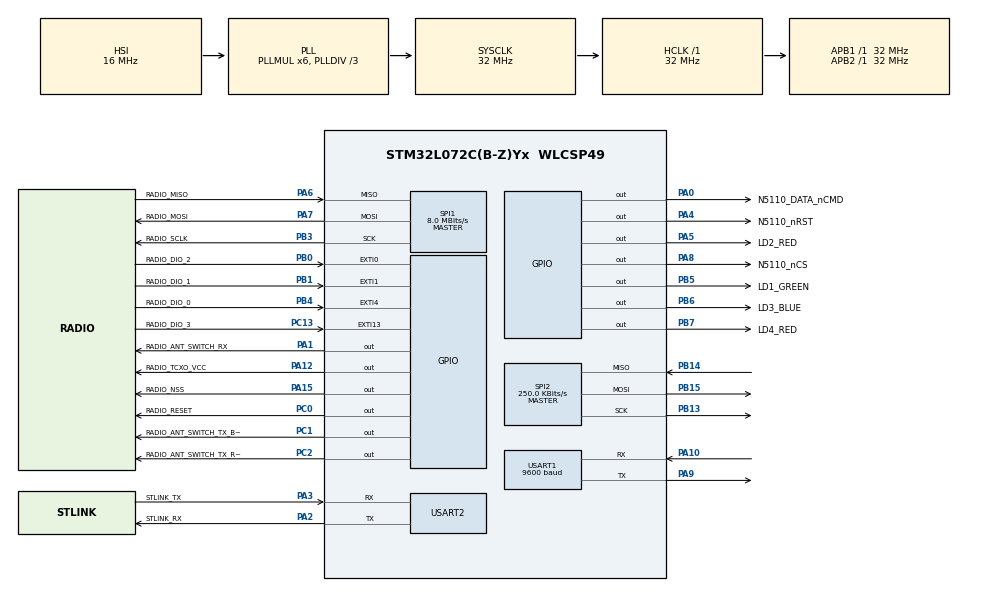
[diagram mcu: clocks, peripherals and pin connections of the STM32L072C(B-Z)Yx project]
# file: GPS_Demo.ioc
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Dma.Request0=USART1_RX
Dma.Request1=USART1_TX
Dma.Request2=SPI2_TX
Dma.SPI2_TX.2.Direction=DMA_MEMORY_TO_PERIPH
Dma.SPI2_TX.2.Instance=DMA1_Channel5
Dma.SPI2_TX.2.MemDataAlignment=DMA_MDATAALIGN_BYTE
Dma.SPI2_TX.2.MemInc=DMA_MINC_ENABLE
Dma.SPI2_TX.2.Mode=DMA_NORMAL
Dma.SPI2_TX.2.PeriphDataAlignment=DMA_PDATAALIGN_BYTE
Dma.SPI2_TX.2.PeriphInc=DMA_PINC_DISABLE
Dma.SPI2_TX.2.Priority=DMA_PRIORITY_LOW
Dma.USART1_RX.0.Direction=DMA_PERIPH_TO_MEMORY
Dma.USART1_RX.0.Instance=DMA1_Channel3
Dma.USART1_RX.0.MemDataAlignment=DMA_MDATAALIGN_BYTE
Dma.USART1_RX.0.MemInc=DMA_MINC_ENABLE
Dma.USART1_RX.0.Mode=DMA_CIRCULAR
Dma.USART1_RX.0.PeriphDataAlignment=DMA_PDATAALIGN_BYTE
Dma.USART1_RX.0.PeriphInc=DMA_PINC_DISABLE
Dma.USART1_RX.0.Priority=DMA_PRIORITY_LOW
Dma.USART1_TX.1.Direction=DMA_MEMORY_TO_PERIPH
Dma.USART1_TX.1.Instance=DMA1_Channel2
Dma.USART1_TX.1.MemDataAlignment=DMA_MDATAALIGN_BYTE
Dma.USART1_TX.1.MemInc=DMA_MINC_ENABLE
Dma.USART1_TX.1.Mode=DMA_NORMAL
Dma.USART1_TX.1.PeriphDataAlignment=DMA_PDATAALIGN_BYTE
Dma.USART1_TX.1.PeriphInc=DMA_PINC_DISABLE
Dma.USART1_TX.1.Priority=DMA_PRIORITY_LOW
Mcu.Family=STM32L0
Mcu.Name=STM32L072C(B-Z)Yx
Mcu.Package=WLCSP49
NVIC.DMA1_Channel2_3_IRQn=true\:0\:0\:false\:false\:true\:false
NVIC.DMA1_Channel4_5_6_7_IRQn=true\:0\:0\:false\:false\:true\:false
NVIC.EXTI0_1_IRQn=true\:0\:0\:false\:false\:true\:true
NVIC.EXTI4_15_IRQn=true\:0\:0\:false\:false\:true\:true
NVIC.RTC_IRQn=true\:0\:0\:false\:false\:true\:true
NVIC.SPI1_IRQn=true\:0\:0\:false\:false\:true\:true
NVIC.SPI2_IRQn=true\:0\:0\:false\:false\:true\:true
NVIC.USART1_IRQn=true\:0\:0\:false\:false\:true\:true
NVIC.USART2_IRQn=true\:0\:0\:false\:false\:true\:true
PA0.GPIO_Label=N5110_DATA_nCMD
PA0.Signal=GPIO_Output
PA1.GPIO_Label=RADIO_ANT_SWITCH_RX
PA1.GPIO_Speed=GPIO_SPEED_FREQ_HIGH
PA1.PinState=GPIO_PIN_RESET
PA1.Signal=GPIO_Output
PA10.Mode=Asynchronous
PA10.Signal=USART1_RX
PA12.GPIO_Label=RADIO_TCXO_VCC
PA12.GPIO_Speed=GPIO_SPEED_FREQ_HIGH
PA12.Signal=GPIO_Output
PA15.GPIO_Label=RADIO_NSS
PA15.GPIO_Speed=GPIO_SPEED_FREQ_HIGH
PA15.PinState=GPIO_PIN_SET
PA15.Signal=GPIO_Output
PA2.GPIO_Label=STLINK_RX
PA2.Mode=Asynchronous
PA2.Signal=USART2_TX
PA3.GPIO_Label=STLINK_TX
PA3.Mode=Asynchronous
PA3.Signal=USART2_RX
PA4.GPIO_Label=N5110_nRST
PA4.Signal=GPIO_Output
PA5.GPIO_Label=LD2_RED
PA5.Signal=GPIO_Output
PA6.GPIO_Label=RADIO_MISO
PA6.Mode=Full_Duplex_Master
PA6.Signal=SPI1_MISO
PA7.GPIO_Label=RADIO_MOSI
PA7.Mode=Full_Duplex_Master
PA7.Signal=SPI1_MOSI
PA8.GPIO_Label=N5110_nCS
PA8.Signal=GPIO_Output
PA9.Mode=Asynchronous
PA9.Signal=USART1_TX
PB0.GPIO_Label=RADIO_DIO_2
PB0.GPIO_PuPd=GPIO_PULLDOWN
PB0.Signal=GPXTI0
PB1.GPIO_Label=RADIO_DIO_1
PB1.GPIO_PuPd=GPIO_PULLDOWN
PB1.Signal=GPXTI1
PB12.Signal=SPI2_NSS
PB13.Mode=Full_Duplex_Master
PB13.Signal=SPI2_SCK
PB14.Mode=Full_Duplex_Master
PB14.Signal=SPI2_MISO
PB15.Mode=Full_Duplex_Master
PB15.Signal=SPI2_MOSI
PB3.GPIO_Label=RADIO_SCLK
PB3.Mode=Full_Duplex_Master
PB3.Signal=SPI1_SCK
PB4.GPIO_Label=RADIO_DIO_0
PB4.GPIO_PuPd=GPIO_PULLDOWN
PB4.Signal=GPXTI4
PB5.GPIO_Label=LD1_GREEN
PB5.Signal=GPIO_Output
PB6.GPIO_Label=LD3_BLUE
PB6.Signal=GPIO_Output
PB7.GPIO_Label=LD4_RED
PB7.Signal=GPIO_Output
PC0.GPIO_Label=RADIO_RESET
PC0.GPIO_Speed=GPIO_SPEED_FREQ_HIGH
PC0.Signal=GPIO_Output
PC1.GPIO_Label=RADIO_ANT_SWITCH_TX_BOOST
PC1.GPIO_Speed=GPIO_SPEED_FREQ_HIGH
PC1.Signal=GPIO_Output
PC13.GPIO_Label=RADIO_DIO_3
PC13.GPIO_PuPd=GPIO_PULLDOWN
PC13.Signal=GPXTI13
PC2.GPIO_Label=RADIO_ANT_SWITCH_TX_RFO
PC2.GPIO_Speed=GPIO_SPEED_FREQ_HIGH
PC2.Signal=GPIO_Output
PH0-OSC_IN.Signal=RCC_OSC_IN
PH1-OSC_OUT.Signal=RCC_OSC_OUT
ProjectManager.HeapSize=0x200
ProjectManager.StackSize=0xF00
ProjectManager.TargetToolchain=TrueSTUDIO
RCC.AHBFreq_Value=32000000
RCC.APB1Freq_Value=32000000
RCC.APB1TimFreq_Value=32000000
RCC.APB2Freq_Value=32000000
RCC.APB2TimFreq_Value=32000000
RCC.HCLKFreq_Value=32000000
RCC.HSE_VALUE=8000000
RCC.HSI16_VALUE=16000000
RCC.HSI48_VALUE=48000000
RCC.HSI_VALUE=16000000
RCC.LSE_VALUE=32768
RCC.MSI_VALUE=2097000
RCC.PLLDIV=RCC_PLLDIV_3
RCC.PLLMUL=RCC_PLLMUL_6
RCC.SYSCLKFreq_VALUE=32000000
RCC.SYSCLKSource=RCC_SYSCLKSOURCE_PLLCLK
RCC.VCOOutputFreq_Value=96000000
RTC.Alarm-Alarm\ A=RTC_ALARM_A
RTC.AlarmSubSecondMask-Alarm\ A=RTC_ALARMSUBSECONDMASK_NONE
RTC.AsynchPrediv=31
RTC.Format=RTC_FORMAT_BIN
RTC.SynchPrediv=1023
SPI1.BaudRatePrescaler=SPI_BAUDRATEPRESCALER_4
SPI1.CalculateBaudRate=8.0 MBits/s
SPI1.Direction=SPI_DIRECTION_2LINES
SPI1.Mode=SPI_MODE_MASTER
SPI1.TIMode=SPI_TIMODE_DISABLE
SPI1.VirtualNSS=VM_NSSHARD
SPI1.VirtualType=VM_MASTER
SPI2.BaudRatePrescaler=SPI_BAUDRATEPRESCALER_128
SPI2.CalculateBaudRate=250.0 KBits/s
SPI2.Direction=SPI_DIRECTION_2LINES
SPI2.Mode=SPI_MODE_MASTER
SPI2.VirtualNSS=VM_NSSHARD
SPI2.VirtualType=VM_MASTER
USART1.BaudRate=9600
USART1.VirtualMode-Asynchronous=VM_ASYNC
USART2.VirtualMode-Asynchronous=VM_ASYNC
VP_RTC_VS_RTC_Activate.Mode=RTC_Enabled
VP_RTC_VS_RTC_Alarm_A_Intern.Mode=Alarm A
VP_RTC_VS_RTC_Calendar.Mode=RTC_Calendar
board=B-L072Z-LRWAN1

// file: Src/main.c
/* USER CODE BEGIN Header */
/**
  ******************************************************************************
  * @file           : main.c
  * @brief          : Main program body
  ******************************************************************************
  ** This notice applies to any and all portions of this file
  * that are not between comment pairs USER CODE BEGIN and
  * USER CODE END. Other portions of this file, whether
  * inserted by the user or by software development tools
  * are owned by their respective copyright owners.
  *
  * COPYRIGHT(c) 2019 STMicroelectronics
  *
  * Redistribution and use in source and binary forms, with or without modification,
  * are permitted provided that the following conditions are met:
  *   1. Redistributions of source code must retain the above copyright notice,
  *      this list of conditions and the following disclaimer.
  *   2. Redistributions in binary form must reproduce the above copyright notice,
  *      this list of conditions and the following disclaimer in the documentation
  *      and/or other materials provided with the distribution.
  *   3. Neither the name of STMicroelectronics nor the names of its contributors
  *      may be used to endorse or promote products derived from this software
  *      without specific prior written permission.
  *
  * THIS SOFTWARE IS PROVIDED BY THE COPYRIGHT HOLDERS AND CONTRIBUTORS "AS IS"
  * AND ANY EXPRESS OR IMPLIED WARRANTIES, INCLUDING, BUT NOT LIMITED TO, THE
  * IMPLIED WARRANTIES OF MERCHANTABILITY AND FITNESS FOR A PARTICULAR PURPOSE ARE
  * DISCLAIMED. IN NO EVENT SHALL THE COPYRIGHT HOLDER OR CONTRIBUTORS BE LIABLE
  * FOR ANY DIRECT, INDIRECT, INCIDENTAL, SPECIAL, EXEMPLARY, OR CONSEQUENTIAL
  * DAMAGES (INCLUDING, BUT NOT LIMITED TO, PROCUREMENT OF SUBSTITUTE GOODS OR
  * SERVICES; LOSS OF USE, DATA, OR PROFITS; OR BUSINESS INTERRUPTION) HOWEVER
  * CAUSED AND ON ANY THEORY OF LIABILITY, WHETHER IN CONTRACT, STRICT LIABILITY,
  * OR TORT (INCLUDING NEGLIGENCE OR OTHERWISE) ARISING IN ANY WAY OUT OF THE USE
  * OF THIS SOFTWARE, EVEN IF ADVISED OF THE POSSIBILITY OF SUCH DAMAGE.
  *
  ******************************************************************************
  */
/* USER CODE END Header */

#include "main.h"

/* USER CODE BEGIN Includes */

#include "stdio.h"
#include "stdlib.h"
#include "stddef.h"
#include "string.h"
#include "gps.h"

#include "N5110_LCD/N5110_lcd.h"

#include "radio/sx1276/sx1276.h"
/* USER CODE END Includes */

RTC_HandleTypeDef hrtc;

SPI_HandleTypeDef hspi1;
SPI_HandleTypeDef hspi2;
DMA_HandleTypeDef hdma_spi2_tx;
UART_HandleTypeDef huart1;
UART_HandleTypeDef huart2;
DMA_HandleTypeDef hdma_usart1_rx;
DMA_HandleTypeDef hdma_usart1_tx;

void SystemClock_Config(void);
static void MX_GPIO_Init(void);
static void MX_DMA_Init(void);
static void MX_RTC_Init(void);
static void MX_SPI1_Init(void);
static void MX_SPI2_Init(void);
static void MX_USART2_UART_Init(void);
static void MX_USART1_UART_Init(void);

/* USER CODE BEGIN 0 */
GPS_t* gpsHandle;

//#define UARTDMA_BUFFER_SIZE 128
uint8_t GPS_buffer[128];
uint8_t DMA_buffer[128];
uint8_t dma_memcpy_flag;
uint16_t gps_buffer_pointer = 0;

void HAL_UART_RxCpltCallback(UART_HandleTypeDef *huart)
{
	if (huart == &huart1)
	{

	}
}
void HAL_UART_RxHalfCpltCallback(UART_HandleTypeDef *huart)
{
	if (huart == &huart1)
	{

	}
}

/* USER CODE END 0 */

int main(void)
{

  /* MCU Configuration--------------------------------------------------------*/

  /* Reset of all peripherals, Initializes the Flash interface and the Systick. */
  HAL_Init();

  /* Configure the system clock */
  SystemClock_Config();

  /* Initialize all configured peripherals */
  MX_GPIO_Init();
  MX_DMA_Init();
  MX_RTC_Init();
  MX_SPI1_Init();
  MX_SPI2_Init();
  MX_USART2_UART_Init();
  MX_USART1_UART_Init();
  /* USER CODE BEGIN 2 */

  gpsHandle = gps_open(GPS_DATA_TYPE_NMEA);

  __HAL_UART_ENABLE_IT(&huart1, UART_IT_IDLE);
  HAL_UART_Receive_DMA(&huart1, DMA_buffer, 128);

  /* USER CODE END 2 */

  /* Infinite loop */
  while (1)
  {

  }
}

void SystemClock_Config(void)
{
  RCC_OscInitTypeDef RCC_OscInitStruct = {0};
  RCC_ClkInitTypeDef RCC_ClkInitStruct = {0};
  RCC_PeriphCLKInitTypeDef PeriphClkInit = {0};

  /**Configure the main internal regulator output voltage
  */
  __HAL_PWR_VOLTAGESCALING_CONFIG(PWR_REGULATOR_VOLTAGE_SCALE1);
  /**Initializes the CPU, AHB and APB busses clocks
  */
  RCC_OscInitStruct.OscillatorType = RCC_OSCILLATORTYPE_HSI|RCC_OSCILLATORTYPE_LSI;
  RCC_OscInitStruct.HSIState = RCC_HSI_ON;
  RCC_OscInitStruct.HSICalibrationValue = RCC_HSICALIBRATION_DEFAULT;
  RCC_OscInitStruct.LSIState = RCC_LSI_ON;
  RCC_OscInitStruct.PLL.PLLState = RCC_PLL_ON;
  RCC_OscInitStruct.PLL.PLLSource = RCC_PLLSOURCE_HSI;
  RCC_OscInitStruct.PLL.PLLMUL = RCC_PLLMUL_6;
  RCC_OscInitStruct.PLL.PLLDIV = RCC_PLLDIV_3;
  if (HAL_RCC_OscConfig(&RCC_OscInitStruct) != HAL_OK)
  {
    Error_Handler();
  }
  /**Initializes the CPU, AHB and APB busses clocks
  */
  RCC_ClkInitStruct.ClockType = RCC_CLOCKTYPE_HCLK|RCC_CLOCKTYPE_SYSCLK
                              |RCC_CLOCKTYPE_PCLK1|RCC_CLOCKTYPE_PCLK2;
  RCC_ClkInitStruct.SYSCLKSource = RCC_SYSCLKSOURCE_PLLCLK;
  RCC_ClkInitStruct.AHBCLKDivider = RCC_SYSCLK_DIV1;
  RCC_ClkInitStruct.APB1CLKDivider = RCC_HCLK_DIV1;
  RCC_ClkInitStruct.APB2CLKDivider = RCC_HCLK_DIV1;

  if (HAL_RCC_ClockConfig(&RCC_ClkInitStruct, FLASH_LATENCY_1) != HAL_OK)
  {
    Error_Handler();
  }
  PeriphClkInit.PeriphClockSelection = RCC_PERIPHCLK_USART1|RCC_PERIPHCLK_USART2
                              |RCC_PERIPHCLK_RTC;
  PeriphClkInit.Usart1ClockSelection = RCC_USART1CLKSOURCE_PCLK2;
  PeriphClkInit.Usart2ClockSelection = RCC_USART2CLKSOURCE_PCLK1;
  PeriphClkInit.RTCClockSelection = RCC_RTCCLKSOURCE_LSI;
  if (HAL_RCCEx_PeriphCLKConfig(&PeriphClkInit) != HAL_OK)
  {
    Error_Handler();
  }
}

static void MX_RTC_Init(void)
{

  RTC_TimeTypeDef sTime = {0};
  RTC_DateTypeDef sDate = {0};
  RTC_AlarmTypeDef sAlarm = {0};

  /**Initialize RTC Only
  */
  hrtc.Instance = RTC;
  hrtc.Init.HourFormat = RTC_HOURFORMAT_24;
  hrtc.Init.AsynchPrediv = 31;
  hrtc.Init.SynchPrediv = 1023;
  hrtc.Init.OutPut = RTC_OUTPUT_DISABLE;
  hrtc.Init.OutPutRemap = RTC_OUTPUT_REMAP_NONE;
  hrtc.Init.OutPutPolarity = RTC_OUTPUT_POLARITY_HIGH;
  hrtc.Init.OutPutType = RTC_OUTPUT_TYPE_OPENDRAIN;
  if (HAL_RTC_Init(&hrtc) != HAL_OK)
  {
    Error_Handler();
  }

  /**Initialize RTC and set the Time and Date
  */
  sTime.Hours = 0;
  sTime.Minutes = 0;
  sTime.Seconds = 0;
  sTime.DayLightSaving = RTC_DAYLIGHTSAVING_NONE;
  sTime.StoreOperation = RTC_STOREOPERATION_RESET;
  if (HAL_RTC_SetTime(&hrtc, &sTime, RTC_FORMAT_BIN) != HAL_OK)
  {
    Error_Handler();
  }
  sDate.WeekDay = RTC_WEEKDAY_MONDAY;
  sDate.Month = RTC_MONTH_JANUARY;
  sDate.Date = 1;
  sDate.Year = 0;

  if (HAL_RTC_SetDate(&hrtc, &sDate, RTC_FORMAT_BIN) != HAL_OK)
  {
    Error_Handler();
  }
  /**Enable the Alarm A
  */
  sAlarm.AlarmTime.Hours = 0;
  sAlarm.AlarmTime.Minutes = 0;
  sAlarm.AlarmTime.Seconds = 0;
  sAlarm.AlarmTime.SubSeconds = 0;
  sAlarm.AlarmTime.DayLightSaving = RTC_DAYLIGHTSAVING_NONE;
  sAlarm.AlarmTime.StoreOperation = RTC_STOREOPERATION_RESET;
  sAlarm.AlarmMask = RTC_ALARMMASK_NONE;
  sAlarm.AlarmSubSecondMask = RTC_ALARMSUBSECONDMASK_NONE;
  sAlarm.AlarmDateWeekDaySel = RTC_ALARMDATEWEEKDAYSEL_DATE;
  sAlarm.AlarmDateWeekDay = 1;
  sAlarm.Alarm = RTC_ALARM_A;
  if (HAL_RTC_SetAlarm_IT(&hrtc, &sAlarm, RTC_FORMAT_BIN) != HAL_OK)
  {
    Error_Handler();
  }

}

static void MX_SPI1_Init(void)
{

  /* SPI1 parameter configuration*/
  hspi1.Instance = SPI1;
  hspi1.Init.Mode = SPI_MODE_MASTER;
  hspi1.Init.Direction = SPI_DIRECTION_2LINES;
  hspi1.Init.DataSize = SPI_DATASIZE_8BIT;
  hspi1.Init.CLKPolarity = SPI_POLARITY_LOW;
  hspi1.Init.CLKPhase = SPI_PHASE_1EDGE;
  hspi1.Init.NSS = SPI_NSS_SOFT;
  hspi1.Init.BaudRatePrescaler = SPI_BAUDRATEPRESCALER_32;
  hspi1.Init.FirstBit = SPI_FIRSTBIT_MSB;
  hspi1.Init.TIMode = SPI_TIMODE_DISABLE;
  hspi1.Init.CRCCalculation = SPI_CRCCALCULATION_DISABLE;
  hspi1.Init.CRCPolynomial = 7;
  if (HAL_SPI_Init(&hspi1) != HAL_OK)
  {
    Error_Handler();
  }

}

static void MX_SPI2_Init(void)
{

  /* SPI2 parameter configuration*/
  hspi2.Instance = SPI2;
  hspi2.Init.Mode = SPI_MODE_MASTER;
  hspi2.Init.Direction = SPI_DIRECTION_2LINES;
  hspi2.Init.DataSize = SPI_DATASIZE_8BIT;
  hspi2.Init.CLKPolarity = SPI_POLARITY_LOW;
  hspi2.Init.CLKPhase = SPI_PHASE_1EDGE;
  hspi2.Init.NSS = SPI_NSS_HARD_INPUT;
  hspi2.Init.BaudRatePrescaler = SPI_BAUDRATEPRESCALER_2;
  hspi2.Init.FirstBit = SPI_FIRSTBIT_MSB;
  hspi2.Init.TIMode = SPI_TIMODE_DISABLE;
  hspi2.Init.CRCCalculation = SPI_CRCCALCULATION_DISABLE;
  hspi2.Init.CRCPolynomial = 7;
  if (HAL_SPI_Init(&hspi2) != HAL_OK)
  {
    Error_Handler();
  }

}

static void MX_USART1_UART_Init(void)
{

  huart1.Instance = USART1;
  huart1.Init.BaudRate = 9600;
  huart1.Init.WordLength = UART_WORDLENGTH_8B;
  huart1.Init.StopBits = UART_STOPBITS_1;
  huart1.Init.Parity = UART_PARITY_NONE;
  huart1.Init.Mode = UART_MODE_TX_RX;
  huart1.Init.HwFlowCtl = UART_HWCONTROL_NONE;
  huart1.Init.OverSampling = UART_OVERSAMPLING_16;
  huart1.Init.OneBitSampling = UART_ONE_BIT_SAMPLE_DISABLE;
  huart1.AdvancedInit.AdvFeatureInit = UART_ADVFEATURE_NO_INIT;
  if (HAL_UART_Init(&huart1) != HAL_OK)
  {
    Error_Handler();
  }

}

static void MX_USART2_UART_Init(void)
{

  huart2.Instance = USART2;
  huart2.Init.BaudRate = 115200;
  huart2.Init.WordLength = UART_WORDLENGTH_8B;
  huart2.Init.StopBits = UART_STOPBITS_1;
  huart2.Init.Parity = UART_PARITY_NONE;
  huart2.Init.Mode = UART_MODE_TX_RX;
  huart2.Init.HwFlowCtl = UART_HWCONTROL_NONE;
  huart2.Init.OverSampling = UART_OVERSAMPLING_16;
  huart2.Init.OneBitSampling = UART_ONE_BIT_SAMPLE_DISABLE;
  huart2.AdvancedInit.AdvFeatureInit = UART_ADVFEATURE_NO_INIT;
  if (HAL_UART_Init(&huart2) != HAL_OK)
  {
    Error_Handler();
  }

}

static void MX_DMA_Init(void)
{
  /* DMA controller clock enable */
  __HAL_RCC_DMA1_CLK_ENABLE();

  /* DMA interrupt init */
  /* DMA1_Channel2_3_IRQn interrupt configuration */
  HAL_NVIC_SetPriority(DMA1_Channel2_3_IRQn, 0, 0);
  HAL_NVIC_EnableIRQ(DMA1_Channel2_3_IRQn);

}

static void MX_GPIO_Init(void)
{
  GPIO_InitTypeDef GPIO_InitStruct = {0};

  /* GPIO Ports Clock Enable */
  __HAL_RCC_GPIOA_CLK_ENABLE();
  __HAL_RCC_GPIOB_CLK_ENABLE();
  __HAL_RCC_GPIOC_CLK_ENABLE();
  __HAL_RCC_GPIOH_CLK_ENABLE();

  /*Configure GPIO pin Output Level */
  HAL_GPIO_WritePin(GPIOA, RADIO_NSS_Pin|RADIO_TCXO_VCC_Pin|RADIO_ANT_SWITCH_RX_Pin, GPIO_PIN_RESET);

  /*Configure GPIO pin Output Level */
  HAL_GPIO_WritePin(GPIOC, RADIO_ANT_SWITCH_TX_BOOST_Pin|RADIO_RESET_Pin|RADIO_ANT_SWITCH_TX_RFO_Pin, GPIO_PIN_RESET);

  /*Configure GPIO pins : RADIO_NSS_Pin RADIO_TCXO_VCC_Pin RADIO_ANT_SWITCH_RX_Pin */
  GPIO_InitStruct.Pin = RADIO_NSS_Pin|RADIO_TCXO_VCC_Pin|RADIO_ANT_SWITCH_RX_Pin;
  GPIO_InitStruct.Mode = GPIO_MODE_OUTPUT_PP;
  GPIO_InitStruct.Pull = GPIO_NOPULL;
  GPIO_InitStruct.Speed = GPIO_SPEED_FREQ_HIGH;
  HAL_GPIO_Init(GPIOA, &GPIO_InitStruct);

  /*Configure GPIO pins : RADIO_DIO_0_Pin RADIO_DIO_1_Pin RADIO_DIO_2_Pin */
  GPIO_InitStruct.Pin = RADIO_DIO_0_Pin|RADIO_DIO_1_Pin|RADIO_DIO_2_Pin;
  GPIO_InitStruct.Mode = GPIO_MODE_IT_RISING;
  GPIO_InitStruct.Pull = GPIO_NOPULL;
  HAL_GPIO_Init(GPIOB, &GPIO_InitStruct);

  /*Configure GPIO pin : RADIO_DIO_3_Pin */
  GPIO_InitStruct.Pin = RADIO_DIO_3_Pin;
  GPIO_InitStruct.Mode = GPIO_MODE_IT_RISING;
  GPIO_InitStruct.Pull = GPIO_NOPULL;
  HAL_GPIO_Init(RADIO_DIO_3_GPIO_Port, &GPIO_InitStruct);

  /*Configure GPIO pins : RADIO_ANT_SWITCH_TX_BOOST_Pin RADIO_RESET_Pin RADIO_ANT_SWITCH_TX_RFO_Pin */
  GPIO_InitStruct.Pin = RADIO_ANT_SWITCH_TX_BOOST_Pin|RADIO_RESET_Pin|RADIO_ANT_SWITCH_TX_RFO_Pin;
  GPIO_InitStruct.Mode = GPIO_MODE_OUTPUT_PP;
  GPIO_InitStruct.Pull = GPIO_NOPULL;
  GPIO_InitStruct.Speed = GPIO_SPEED_FREQ_HIGH;
  HAL_GPIO_Init(GPIOC, &GPIO_InitStruct);

  /* EXTI interrupt init*/
  HAL_NVIC_SetPriority(EXTI0_1_IRQn, 0, 0);
  HAL_NVIC_EnableIRQ(EXTI0_1_IRQn);

  HAL_NVIC_SetPriority(EXTI4_15_IRQn, 0, 0);
  HAL_NVIC_EnableIRQ(EXTI4_15_IRQn);

}

void Error_Handler(void)
{
}

/************************ (C) COPYRIGHT STMicroelectronics *****END OF FILE****/
